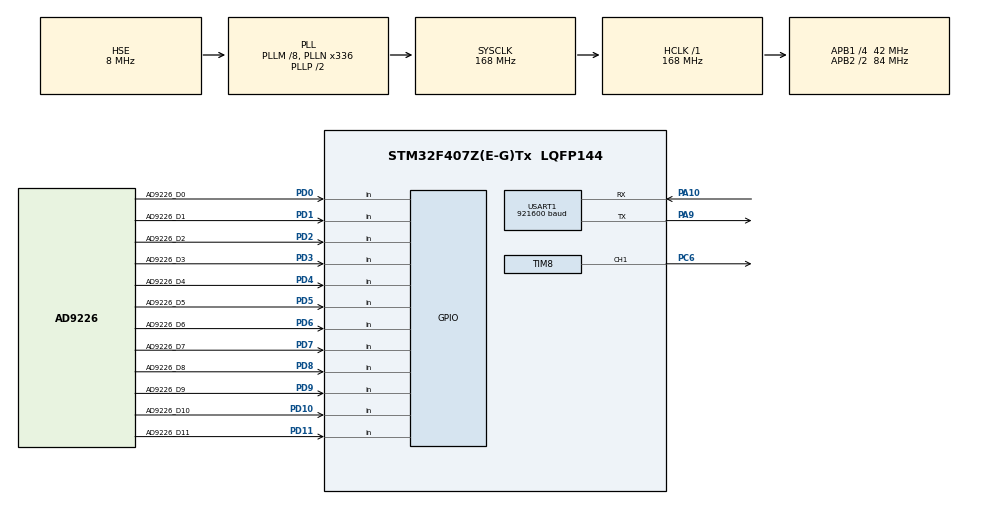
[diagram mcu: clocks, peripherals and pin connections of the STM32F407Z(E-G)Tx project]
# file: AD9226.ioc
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Dma.Request0=TIM8_UP
Dma.Request1=USART1_TX
Dma.TIM8_UP.0.Direction=DMA_PERIPH_TO_MEMORY
Dma.TIM8_UP.0.FIFOMode=DMA_FIFOMODE_DISABLE
Dma.TIM8_UP.0.Instance=DMA2_Stream1
Dma.TIM8_UP.0.MemDataAlignment=DMA_MDATAALIGN_HALFWORD
Dma.TIM8_UP.0.MemInc=DMA_MINC_ENABLE
Dma.TIM8_UP.0.Mode=DMA_NORMAL
Dma.TIM8_UP.0.PeriphDataAlignment=DMA_PDATAALIGN_HALFWORD
Dma.TIM8_UP.0.PeriphInc=DMA_PINC_DISABLE
Dma.TIM8_UP.0.Priority=DMA_PRIORITY_HIGH
Dma.USART1_TX.1.Direction=DMA_MEMORY_TO_PERIPH
Dma.USART1_TX.1.FIFOMode=DMA_FIFOMODE_DISABLE
Dma.USART1_TX.1.Instance=DMA2_Stream7
Dma.USART1_TX.1.MemDataAlignment=DMA_MDATAALIGN_BYTE
Dma.USART1_TX.1.MemInc=DMA_MINC_ENABLE
Dma.USART1_TX.1.Mode=DMA_NORMAL
Dma.USART1_TX.1.PeriphDataAlignment=DMA_PDATAALIGN_BYTE
Dma.USART1_TX.1.PeriphInc=DMA_PINC_DISABLE
Dma.USART1_TX.1.Priority=DMA_PRIORITY_LOW
Mcu.Family=STM32F4
Mcu.Name=STM32F407Z(E-G)Tx
Mcu.Package=LQFP144
NVIC.DMA2_Stream1_IRQn=true\:0\:0\:false\:false\:true\:false\:true\:true
NVIC.DMA2_Stream7_IRQn=true\:0\:0\:false\:false\:true\:false\:true\:true
NVIC.PriorityGroup=NVIC_PRIORITYGROUP_4
PA10.Mode=Asynchronous
PA10.Signal=USART1_RX
PA9.Mode=Asynchronous
PA9.Signal=USART1_TX
PC6.Signal=S_TIM8_CH1
PD0.GPIO_Label=AD9226_D0
PD0.Signal=GPIO_Input
PD1.GPIO_Label=AD9226_D1
PD1.Signal=GPIO_Input
PD10.GPIO_Label=AD9226_D10
PD10.Signal=GPIO_Input
PD11.GPIO_Label=AD9226_D11
PD11.Signal=GPIO_Input
PD2.GPIO_Label=AD9226_D2
PD2.Signal=GPIO_Input
PD3.GPIO_Label=AD9226_D3
PD3.Signal=GPIO_Input
PD4.GPIO_Label=AD9226_D4
PD4.Signal=GPIO_Input
PD5.GPIO_Label=AD9226_D5
PD5.Signal=GPIO_Input
PD6.GPIO_Label=AD9226_D6
PD6.Signal=GPIO_Input
PD7.GPIO_Label=AD9226_D7
PD7.Signal=GPIO_Input
PD8.GPIO_Label=AD9226_D8
PD8.Signal=GPIO_Input
PD9.GPIO_Label=AD9226_D9
PD9.Signal=GPIO_Input
PH0-OSC_IN.Mode=HSE-External-Oscillator
PH0-OSC_IN.Signal=RCC_OSC_IN
PH1-OSC_OUT.Mode=HSE-External-Oscillator
PH1-OSC_OUT.Signal=RCC_OSC_OUT
ProjectManager.HeapSize=0x200
ProjectManager.StackSize=0x400
ProjectManager.TargetToolchain=MDK-ARM V5.32
RCC.48MHZClocksFreq_Value=84000000
RCC.AHBFreq_Value=168000000
RCC.APB1CLKDivider=RCC_HCLK_DIV4
RCC.APB1Freq_Value=42000000
RCC.APB1TimFreq_Value=84000000
RCC.APB2CLKDivider=RCC_HCLK_DIV2
RCC.APB2Freq_Value=84000000
RCC.APB2TimFreq_Value=168000000
RCC.CortexFreq_Value=168000000
RCC.HCLKFreq_Value=168000000
RCC.HSE_VALUE=8000000
RCC.HSI_VALUE=16000000
RCC.LSE_VALUE=32768
RCC.PLLM=8
RCC.PLLN=336
RCC.PLLSourceVirtual=RCC_PLLSOURCE_HSE
RCC.SYSCLKFreq_VALUE=168000000
RCC.SYSCLKSource=RCC_SYSCLKSOURCE_PLLCLK
RCC.VCOOutputFreq_Value=336000000
SH.S_TIM8_CH1.0=TIM8_CH1,PWM Generation1 CH1
TIM8.AutoReloadPreload=TIM_AUTORELOAD_PRELOAD_ENABLE
TIM8.Channel-PWM\ Generation1\ CH1=TIM_CHANNEL_1
TIM8.OCFastMode_PWM-PWM\ Generation1\ CH1=TIM_OCFAST_ENABLE
TIM8.OCMode_PWM-PWM\ Generation1\ CH1=TIM_OCMODE_PWM2
TIM8.Period=41
TIM8.Pulse-PWM\ Generation1\ CH1=21
TIM8.TIM_MasterOutputTrigger=TIM_TRGO_UPDATE
USART1.BaudRate=921600
USART1.VirtualMode=VM_ASYNC
board=custom

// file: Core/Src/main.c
/* USER CODE BEGIN Header */
/**
  * @file    main.c
  * @brief   STM32F407ZGT6 + AD9226 并行ADC采集
  *          淘晶驰串口屏波形显示 (TJC协议, 115200bps)
  */
/* USER CODE END Header */
#include "main.h"
#include "dma.h"
#include "tim.h"
#include "usart.h"
#include "gpio.h"

/* USER CODE BEGIN Includes */
#include <string.h>
#include "waveform_display.h"
#include "hmi.h"
#include "fft_analysis.h"
#include "digital_filter.h"
#include "problem3.h"
/* USER CODE END Includes */

/* USER CODE BEGIN PTD */
typedef enum
{
    T3_VIEW_IFFT = 0,
    T3_VIEW_SPEC,
    T3_VIEW_1T,
    T3_VIEW_3T
} Problem3View_t;

typedef enum
{
    P12_VIEW_SPECTRUM = 0,
    P12_VIEW_IFFT,
    P12_VIEW_1T,
    P12_VIEW_3T
} Problem12View_t;
/* USER CODE END PTD */

/* USER CODE BEGIN PD */

/* Numeric page IDs exported by the TJC project id.h. */
#define HMI_PAGE_P12_SPECTRUM_ID  1U   /* P1/P2 频谱页 (请根据TJC工程确认) */
#define HMI_PAGE_P12_IFFT_ID      2U   /* P1/P2 IFFT波形页 */
#define HMI_PAGE_P12_1T_ID        3U   /* P1/P2 单周期合成页 */
#define HMI_PAGE_P12_3T_ID        4U   /* P1/P2 三周期合成页 */

#define HMI_PAGE_P3_PAUSE_ID    6U  /* page7 */
#define HMI_PAGE_P3_IFFT_ID     7U  /* page8 */
#define HMI_PAGE_P3_SPEC_ID     8U  /* page9 */
#define HMI_PAGE_P3_1T_ID       9U  /* page4 */
#define HMI_PAGE_P3_3T_ID      10U  /* page5 */

/* USE0R CODE END PD */

/* USER CODE BEGIN PV */

uint16_t adc_buffer[ADC_SAMPLE_LEN];                  // DMA采集缓冲区
static uint16_t filtered_buffer[DIGITAL_FILTER_OUTPUT_SIZE]; // 题目3 FIR输出
volatile uint8_t dma_complete_flag = 0;
extern TIM_HandleTypeDef htim8;
extern DMA_HandleTypeDef hdma_tim8_up;

/* 串口屏按钮相关 -----------------------------------------*/
volatile uint8_t capture_on = 1;     // 采集/显示开关 (1=运行, 0=暂停)
uint8_t  rx_byte;                    // UART中断接收的单个字节
uint8_t  rx_buf[32];                 // 接收缓冲区
uint8_t  rx_idx = 0;                 // 缓冲区索引

/* X/Y 缩放参数 — 屏幕控件自带缩放功能 */
int g_hzoom = 1;   // 保留串口屏原有X缩放初值
int g_scale = 1;   // Y轴缩放，无上下限
volatile uint8_t zoom_dirty = 0;  // 缩放值已变更，主循环需发送
volatile uint8_t  page0_ready = 1; // 1=page0空闲可切模式
volatile uint32_t page0_tick  = 0; // PAGE0接收时刻
volatile Problem3View_t problem3_view = T3_VIEW_IFFT;
volatile Problem12View_t problem12_view = P12_VIEW_IFFT;
volatile uint8_t hmi_page_id = 0xFFU;
uint32_t hmi_page_query_tick = 0U;
volatile uint8_t  clear_all_pending = 0; // ISR→主循环: 1=需执行ClearAll
static uint8_t problem3_discard_frames = 0U; // 继电器切换后丢弃的采样帧
static volatile uint8_t p3_metrics_pending = 0U; // 页面切换后重发最近测量值
/* USER CODE END PV */

void SystemClock_Config(void);
/* USER CODE BEGIN PFP */
void AD9226_GPIO_Init(void);
void AD9226_StartSampling(void);
void AD9226_StopSampling(void);
void HMI_RxHandler(uint8_t b);
static void P3_UpdateMeasurements(void);
/* USER CODE END PFP */

/* USER CODE BEGIN 0 */

/**
 * @brief 配置GPIOD PD0~PD11为输入，读取AD9226的12位并行数据
 */
void AD9226_GPIO_Init(void)
{
    __HAL_RCC_GPIOD_CLK_ENABLE();

    GPIO_InitTypeDef GPIO_InitStruct = {0};
    GPIO_InitStruct.Pin = GPIO_PIN_0 | GPIO_PIN_1 | GPIO_PIN_2 | GPIO_PIN_3 |
                          GPIO_PIN_4 | GPIO_PIN_5 | GPIO_PIN_6 | GPIO_PIN_7 |
                          GPIO_PIN_8 | GPIO_PIN_9 | GPIO_PIN_10 | GPIO_PIN_11;
    GPIO_InitStruct.Mode = GPIO_MODE_INPUT;
    GPIO_InitStruct.Pull = GPIO_NOPULL;
    GPIO_InitStruct.Speed = GPIO_SPEED_FREQ_VERY_HIGH;
    HAL_GPIO_Init(GPIOD, &GPIO_InitStruct);
}

/**
 * @brief 启动一次DMA采样 (TIM8触发, 采集1024点)
 */
void AD9226_StartSampling(void)
{
    dma_complete_flag = 0;

    // 停止TIM8
    TIM8->CR1 &= ~TIM_CR1_CEN;

    // 禁止DMA, 等待真正停止
    DMA2_Stream1->CR &= ~DMA_SxCR_EN;
    while (DMA2_Stream1->CR & DMA_SxCR_EN);

    // 清除DMA中断标志
    DMA2->LIFCR = 0x3D << 6;

    // 设置源/目标地址和传输长度
    DMA2_Stream1->PAR  = (uint32_t)&GPIOD->IDR;
    DMA2_Stream1->M0AR = (uint32_t)adc_buffer;
    DMA2_Stream1->NDTR = ADC_SAMPLE_LEN;

    // 使能DMA传输完成中断
    DMA2_Stream1->CR |= DMA_SxCR_TCIE;

    // 使能DMA
    DMA2_Stream1->CR |= DMA_SxCR_EN;

    // 使能TIM8 UPDATE触发DMA
    TIM8->DIER |= TIM_DIER_UDE;

    // 清除SR，启动TIM8
    TIM8->SR = 0;
    TIM8->CR1 |= TIM_CR1_CEN;
}

/**
 * @brief 停止采样
 */
void AD9226_StopSampling(void)
{
    TIM8->CR1 &= ~TIM_CR1_CEN;         // 停止TIM8
    DMA2_Stream1->CR &= ~DMA_SxCR_EN;  // 禁止DMA
}

/**
 * @brief 将最近一次题目三测量结果发送到当前页面的同名控件
 * @note  Page4/5/8/9 的控件均可保持 t3_xxx 名称；页面切换后重发即可。
 */
static void P3_UpdateMeasurements(void)
{
    if (g_fft_result.valid == 0U) { return; }

    WaveformDisplay_SetFrequencyHz("t3_f0", g_fft_result.fundamental_hz);
    WaveformDisplay_SetFrequencyHz("t3_fa1", g_fft_result.fundamental_hz);
    WaveformDisplay_SetAmplitudeMV("t3_h0", g_fft_result.peak_magnitude);
    WaveformDisplay_SetFrequencyHz("t3_f1", g_fft_result.harmonic1_hz);
    WaveformDisplay_SetAmplitudeMV("t3_h1", g_fft_result.harmonic1_magnitude);
    WaveformDisplay_SetFrequencyHz("t3_f2", g_fft_result.harmonic2_hz);
    WaveformDisplay_SetAmplitudeMV("t3_h2", g_fft_result.harmonic2_magnitude);
    WaveformDisplay_SetRMSMV("t3_urms", g_fft_result.rms_mv);
    WaveformDisplay_SetUppMV("t3_upp", g_fft_result.upp_mv);
}

/**
 * @brief 串口屏按钮指令处理
 *
 * 按钮事件: START / PAUSE / CLEAR / XP / XM / YP / YM
 * 也兼容淘晶驰标准触摸事件格式 (0x65前缀, 7字节)
 */
void HMI_RxHandler(uint8_t b)
{
    /* PAUSE/CLEAR快速匹配：即使前面夹有屏幕错误返回帧也能立即响应。 */
    static const uint8_t pause_cmd[] = {'P', 'A', 'U', 'S', 'E'};
    static const uint8_t clear_cmd[] = {'C', 'L', 'E', 'A', 'R'};
    static uint8_t pause_pos = 0U;
    static uint8_t clear_pos = 0U;

    /* Parse the 0x66 page response generated by the HMI sendme command. */
    if (b == 0x66U)
    {
        rx_buf[0] = b;
        rx_idx = 1U;
        return;
    }
    if ((rx_idx > 0U) && (rx_buf[0] == 0x66U))
    {
        rx_buf[rx_idx++] = b;
        if (rx_idx >= 5U)
        {
            uint8_t new_page = rx_buf[1];
            uint8_t old_page = hmi_page_id;

            rx_idx = 0U;
            if ((rx_buf[2] != 0xFFU) ||
                (rx_buf[3] != 0xFFU) ||
                (rx_buf[4] != 0xFFU))
            {
                return;
            }

            hmi_page_id = new_page;
            if (problem3_mode)
            {
                switch (new_page)
                {
                    case HMI_PAGE_P3_PAUSE_ID:
                        capture_on = 0U;
                        break;

                    case HMI_PAGE_P3_IFFT_ID:
                        problem3_view = T3_VIEW_IFFT;
                        if (old_page != new_page)
                        {
                            capture_on = 1U;
                            p3_metrics_pending = 1U;
                        }
                        break;

                    case HMI_PAGE_P3_SPEC_ID:
                        problem3_view = T3_VIEW_SPEC;
                        if (old_page != new_page)
                        {
                            capture_on = 1U;
                            p3_metrics_pending = 1U;
                        }
                        break;

                    case HMI_PAGE_P3_1T_ID:
                        problem3_view = T3_VIEW_1T;
                        if (old_page != new_page)
                        {
                            capture_on = 1U;
                            p3_metrics_pending = 1U;
                        }
                        break;

                    case HMI_PAGE_P3_3T_ID:
                        problem3_view = T3_VIEW_3T;
                        if (old_page != new_page)
                        {
                            capture_on = 1U;
                            p3_metrics_pending = 1U;
                        }
                        break;

                    default:
                        break;
                }
            }
            else
            {
                /* P1/P2 page routing: only draw the active view */
                switch (new_page)
                {
                    case HMI_PAGE_P12_SPECTRUM_ID:
                        problem12_view = P12_VIEW_SPECTRUM;
                        if (old_page != new_page) { capture_on = 1U; }
                        break;

                    case HMI_PAGE_P12_IFFT_ID:
                        problem12_view = P12_VIEW_IFFT;
                        if (old_page != new_page) { capture_on = 1U; }
                        break;

                    case HMI_PAGE_P12_1T_ID:
                        problem12_view = P12_VIEW_1T;
                        if (old_page != new_page) { capture_on = 1U; }
                        break;

                    case HMI_PAGE_P12_3T_ID:
                        problem12_view = P12_VIEW_3T;
                        if (old_page != new_page) { capture_on = 1U; }
                        break;

                    default:
                        break;
                }
            }
        }
        return;
    }

    if (b == pause_cmd[pause_pos])
    {
        if (++pause_pos >= sizeof(pause_cmd))
        {
            capture_on = 0U;
            pause_pos = clear_pos = rx_idx = 0U;
            return;
        }
    }
    else { pause_pos = (b == pause_cmd[0]) ? 1U : 0U; }

    if (b == clear_cmd[clear_pos])
    {
        if (++clear_pos >= sizeof(clear_cmd))
        {
            capture_on = 0U;
            clear_all_pending = 1U;
            pause_pos = clear_pos = rx_idx = 0U;
            return;
        }
    }
    else { clear_pos = (b == clear_cmd[0]) ? 1U : 0U; }
    /* 淘晶驰触摸帧 0x65 — 收齐7字节，处理按钮事件 */
    if (rx_idx == 0 && b == 0x65) { rx_buf[0] = 0x65; rx_idx = 1; return; }
    if (rx_idx > 0 && rx_buf[0] == 0x65)
    {
        rx_buf[rx_idx++] = b;
        if (rx_idx >= 7)
        {
            rx_idx = 0;
            uint8_t cid = rx_buf[2];  // 控件ID
            if      (cid == 1)  { capture_on = 1; }
            else if (cid == 2)  { capture_on = 0; }
            else if (cid == 3)  { capture_on = 0; clear_all_pending = 1; }
            else if (cid == 13) { g_hzoom -= 2; zoom_dirty = 1; capture_on = 0; }
            else if (cid == 14) { g_hzoom += 2; zoom_dirty = 1; capture_on = 0; }
            else if (cid == 15) { g_scale += 5; zoom_dirty = 1; capture_on = 0; }
            else if (cid == 16) { g_scale -= 5; zoom_dirty = 1; capture_on = 0; }
            else if (cid == 6)
            {
                /* b2 按钮: 请求切换题目三模式 (在主循环中安全执行) */
                capture_on = 0;
                problem3_pending = problem3_mode ? 2U : 1U;
            }

            /* 限幅: 防止步进过大超出有效范围 */
            if (g_hzoom < -20)  g_hzoom = -20;
            if (g_hzoom > 30)   g_hzoom = 30;
            if (g_scale < -30)  g_scale = -30;
            if (g_scale > 30)   g_scale = 30;
        }
        return;
    }

    /* printh ASCII字符串 (以 \r 或 \n 结尾) */
    if (b == '\r' || b == '\n')
    {
        /* 跳过孤立的换行符 (多条命令之间的 \r\n 残留) */
        if (rx_idx == 0) { return; }

        rx_buf[rx_idx] = '\0';
        char *cmd = (char *)rx_buf;
        rx_idx = 0;

        if      (strcmp(cmd, "START") == 0)
            { capture_on = 1; /* Draw 函数内部自带 Clear，无需重复 */ }
        else if (strcmp(cmd, "PAUSE") == 0)
            { capture_on = 0; }
        else if (strcmp(cmd, "CLEAR") == 0)
            { capture_on = 0; clear_all_pending = 1; }
        else if (strcmp(cmd, "XP") == 0)
            { g_hzoom -= 1; zoom_dirty = 1; capture_on = 0; }
        else if (strcmp(cmd, "XM") == 0)
            { g_hzoom += 1; zoom_dirty = 1; capture_on = 0; }
        else if (strcmp(cmd, "YP") == 0)
            { g_scale += 1; zoom_dirty = 1; capture_on = 0; }
        else if (strcmp(cmd, "YM") == 0)
            { g_scale -= 1; zoom_dirty = 1; capture_on = 0; }
        else if (strcmp(cmd, "PAGE0") == 0)
        {
            capture_on = 0;
            page0_ready = 0;
            page0_tick  = HAL_GetTick();
        }
        else if (strcmp(cmd, "MODE3") == 0)
        {
            capture_on = 0;
            HAL_GPIO_WritePin(GPIOE, GPIO_PIN_6, GPIO_PIN_SET);
            if (!problem3_mode) { problem3_pending = 1U; }
        }
        /* 限幅: 防止步进过大超出有效范围 */
        if (g_hzoom < -20)  g_hzoom = -20;
        if (g_hzoom > 30)   g_hzoom = 30;
        if (g_scale < -30)  g_scale = -30;
        if (g_scale > 30)   g_scale = 30;

        return;
    }

    /* 存储普通字符 */
    if (rx_idx < sizeof(rx_buf) - 1)
        rx_buf[rx_idx++] = b;

    /* hex printh 裸字节序列检测 (不带 \r\n) — 4 字节即触发 */
    if (rx_idx >= 4U)
    {
        uint8_t b0 = rx_buf[rx_idx - 4U];
        uint8_t b1 = rx_buf[rx_idx - 3U];
        uint8_t b2 = rx_buf[rx_idx - 2U];
        uint8_t b3 = rx_buf[rx_idx - 1U];

        /* 题目3: 79 70 3D 3A → PE6 始终 HIGH */
        if (page0_ready &&
            b0 == 0x79 && b1 == 0x70 && b2 == 0x3D && b3 == 0x3A)
        {
            capture_on = 0;
            HAL_GPIO_WritePin(GPIOE, GPIO_PIN_6, GPIO_PIN_SET);
            if (!problem3_mode) { problem3_pending = 1U; }
            rx_idx = 0;
        }
        /* 题目1: 89 80 8D 8A → PE6 LOW (点击即切换直通支路) */
        else if (b0 == 0x89 && b1 == 0x80 && b2 == 0x8D && b3 == 0x8A)
        {
            capture_on = 0;
            HAL_GPIO_WritePin(GPIOE, GPIO_PIN_6, GPIO_PIN_RESET);
            if (problem3_mode)
                problem3_pending = 2U;
            rx_idx = 0;
        }
        /* 题目2: 99 90 9D 9A → PE6 LOW (点击即切换直通支路) */
        else if (b0 == 0x99 && b1 == 0x90 && b2 == 0x9D && b3 == 0x9A)
        {
            capture_on = 0;
            HAL_GPIO_WritePin(GPIOE, GPIO_PIN_6, GPIO_PIN_RESET);
            if (problem3_mode)
                problem3_pending = 2U;
            rx_idx = 0;
        }
        /* page0 加载完成: printh 00 00 00 01 → 就绪, 接受题目3 */
        else if (b0 == 0x00 && b1 == 0x00 && b2 == 0x00 && b3 == 0x01)
        {
            capture_on = 0;
            page0_ready = 1;
            rx_idx = 0;
        }
    }
}

/* USER CODE END 0 */

int main(void)
{

  /* MCU Configuration--------------------------------------------------------*/

  /* Reset of all peripherals, Initializes the Flash interface and the Systick. */
  HAL_Init();

  /* Configure the system clock */
  SystemClock_Config();

  /* Initialize all configured peripherals */
  MX_GPIO_Init();
  MX_DMA_Init();
  MX_TIM8_Init();
  MX_USART1_UART_Init();
  /* USER CODE BEGIN 2 */

    AD9226_GPIO_Init();
    HAL_TIM_PWM_Start(&htim8, TIM_CHANNEL_1);
    if (FFT_Analysis_Init() == 0U)
    {
        Error_Handler();
    }

    /*
     * 初始化切比雪夫滤波器补偿模型
     * 参数: fc=1500000Hz, 纹波=0.5dB, 阶数=7
     *
     * 调试技巧:
     *   - 用信号源输出 100kHz/500kHz/1MHz 正弦波, 对比串口屏读数与信号源设定值
     *   - 如果高频段补偿不够 → 略微减小 fc (如 1450000)
     *   - 如果高频段补偿过度 → 略微增大 fc (如 1550000)
     *   - 纹波值 0.1/0.5/1.0 对应不同设计, 以实际滤波器的 datasheet 为准
     */
    FilterComp_Init(1500000.0f, 0.5f, 7U);

    Problem3_Init();  /* 继电器就绪; 默认直连通路 */

    /* 使能USART1接收中断 (用于接收串口屏按钮指令) */
    HAL_NVIC_SetPriority(USART1_IRQn, 1, 0);
    HAL_NVIC_EnableIRQ(USART1_IRQn);
    HAL_UART_Receive_IT(&huart1, &rx_byte, 1);

    /* 等待串口屏启动完成 */
    HAL_Delay(3000);
    HMI_SendRaw("bkcmd=0");  /* 禁止无效控件命令返回错误帧 */
    HAL_Delay(20U);

    WaveformDisplay_Init(g_hzoom, g_scale);
  /* USER CODE END 2 */

  /* Infinite loop */
  /* USER CODE BEGIN WHILE */
    while (1)
    {
        /* page0 加载等待: 收到 PAGE0 后等 1s 才能切模式 */
        if (!page0_ready && HAL_GetTick() - page0_tick > 1000U)
            { page0_ready = 1; }

        /* ==== 处理 CLEAR 请求 (来自中断的 pending flag) ==== */
        if (clear_all_pending)
        {
            WaveformDisplay_ClearAll();
            clear_all_pending = 0;
        }

        /* ==== 处理题目三模式切换请求 (来自中断的 pending flag) ==== */
        if (problem3_pending)
        {
            if (problem3_pending == 1U)
            {
                problem3_view = T3_VIEW_IFFT;
                hmi_page_id = 0xFFU;
                Problem3_Enter(g_hzoom, g_scale);
                problem3_discard_frames = 1U;
                p3_metrics_pending = 1U;
                capture_on = 1U;
            }
            else
            {
                Problem3_Exit();
                problem3_discard_frames = 0U;
                p3_metrics_pending = 0U;
            }
            problem3_pending = 0U;
        }

        /* Query page in all modes. Page changes select one view to draw. */
        if ((HAL_GetTick() - hmi_page_query_tick) >= 100U)
        {
            hmi_page_query_tick = HAL_GetTick();
            HMI_SendRaw("sendme");
        }

        /* 页面已经加载完成后，把缓存结果写入当前页面的同名控件。 */
        if (problem3_mode && p3_metrics_pending && g_fft_result.valid)
        {
            p3_metrics_pending = 0U;
            P3_UpdateMeasurements();
        }

        /* ---- 等待采集开关 ---- */
        if (!capture_on)
        {
            /* 缩放触发的暂停: 立即应用 zoom 并重画, 不延时 */
            if (zoom_dirty)
            {
                if (problem3_mode)
                {
                    WaveformDisplay_ApplyZoomP3(g_hzoom, g_scale);
                }
                else
                {
                    WaveformDisplay_ApplyZoom(g_hzoom, g_scale);
                }
                zoom_dirty = 0;
                capture_on = 1;
                /* 复用上次采样数据, 仅重画波形 */
            }
            else
            {
                HAL_Delay(50);
                continue;
            }
        }

        /* ---- 启动DMA采样 ---- */
        AD9226_StartSampling();

        /* ---- 等待DMA完成 (1秒超时) ---- */
        uint32_t timeout = HAL_GetTick();
        while (!dma_complete_flag)
        {
            if (!capture_on) { AD9226_StopSampling(); break; }
            if (HAL_GetTick() - timeout > 1000)
            {
                AD9226_StopSampling();
                break;
            }
        }

        /* ---- 分析并绘制波形图 ---- */
        if (dma_complete_flag && capture_on)
        {
            uint8_t analysis_ok = 0U;

            if (problem3_mode && (problem3_discard_frames > 0U))
            {
                problem3_discard_frames--;
                continue;
            }

            if (problem3_mode)
            {
                /* FIR抽取数据留给IFFT波形显示 */
                DigitalFilter_ProcessDecimate(adc_buffer, ADC_SAMPLE_LEN,
                                              filtered_buffer,
                                              DIGITAL_FILTER_OUTPUT_SIZE);
                /* FFT分析用FIR滤波后数据，与IFFT同源，避免噪声干扰 */
                analysis_ok = FFT_Analysis_RunFiltered(filtered_buffer,
                                                       DIGITAL_FILTER_OUTPUT_SIZE,
                                                       550000.0f);
            }
            else
            {
                analysis_ok = FFT_Analysis_Run(adc_buffer, ADC_SAMPLE_LEN,
                                               500000.0f);
            }

            if (analysis_ok != 0U)
            {
                /*
                 * 切比雪夫滤波器幅值补偿 (仅题目3 LPF通路)
                 * 在 FFT_ComputeUpp 之前调用: 先补偿各频率分量的幅值,
                 * 然后用补偿后的幅值计算 Upp / RMS, 结果即为信号源真实值。
                 *
                 * 如果你的硬件改动使滤波器始终在信号路径中,
                 * 把下面 if 去掉, 让两路都补偿即可。
                 */
                if (problem3_mode)
                {
                    FilterComp_ApplyToResult();
                }

                /* 补偿后计算 RMS + Upp (使用补偿后的幅值) */
                FFT_ComputeRMS();
                FFT_ComputeUpp();

                if (problem3_mode)
                {
                    /* 先把t3_fa1/t3_f0/t3_f1/t3_f3等结果写到当前页面。 */
                    p3_metrics_pending = 0U;
                    P3_UpdateMeasurements();

                    /* 数值更新完成后再进行IFFT，当前阶段暂不发送t3_wave。 */
                    (void)FFT_ReconstructIFFTFiltered(
                        filtered_buffer, DIGITAL_FILTER_OUTPUT_SIZE);
                }
                else
                {
                    /* ── 题目1/2: 更新 t1_xxx 文本控件 (不变) ── */
                    WaveformDisplay_SetFrequencyHz("t1_f0",
                                                   g_fft_result.fundamental_hz);
                    WaveformDisplay_SetFrequencyHz("t1_fa1",
                                                   g_fft_result.fundamental_hz);
                    WaveformDisplay_SetAmplitudeMV("t1_h0",
                                                   g_fft_result.peak_magnitude);
                    WaveformDisplay_SetFrequencyHz("t1_f1",
                                                   g_fft_result.harmonic1_hz);
                    WaveformDisplay_SetAmplitudeMV("t1_h1",
                                                   g_fft_result.harmonic1_magnitude);
                    WaveformDisplay_SetFrequencyHz("t1_f2",
                                                   g_fft_result.harmonic2_hz);
                    WaveformDisplay_SetAmplitudeMV("t1_h2",
                                                   g_fft_result.harmonic2_magnitude);
                    WaveformDisplay_SetRMSMV("t1_urms",
                                             g_fft_result.rms_mv);
                    WaveformDisplay_SetUppMV("t1_upp",
                                             g_fft_result.upp_mv);
                }
            }
            else
            {
                if (problem3_mode)
                {
                    WaveformDisplay_SetFrequencyHz("t3_f0", 0.0f);
                    WaveformDisplay_SetFrequencyHz("t3_fa1", 0.0f);
                    WaveformDisplay_SetAmplitudeMV("t3_h0", 0.0f);
                    WaveformDisplay_SetFrequencyHz("t3_f1", 0.0f);
                    WaveformDisplay_SetAmplitudeMV("t3_h1", 0.0f);
                    WaveformDisplay_SetFrequencyHz("t3_f2", 0.0f);
                    WaveformDisplay_SetAmplitudeMV("t3_h2", 0.0f);
                    WaveformDisplay_SetRMSMV("t3_urms", 0.0f);
                    WaveformDisplay_SetUppMV("t3_upp", 0.0f);
                }
                else
                {
                    WaveformDisplay_SetFrequencyHz("t1_f0", 0.0f);
                    WaveformDisplay_SetFrequencyHz("t1_fa1", 0.0f);
                    WaveformDisplay_SetAmplitudeMV("t1_h0", 0.0f);
                    WaveformDisplay_SetFrequencyHz("t1_f1", 0.0f);
                    WaveformDisplay_SetAmplitudeMV("t1_h1", 0.0f);
                    WaveformDisplay_SetFrequencyHz("t1_f2", 0.0f);
                    WaveformDisplay_SetAmplitudeMV("t1_h2", 0.0f);
                    WaveformDisplay_SetRMSMV("t1_urms", 0.0f);
                    WaveformDisplay_SetUppMV("t1_upp", 0.0f);
                }
            }

            /* ---- 缩放参数变更时立即应用到屏幕控件 ---- */
            if (zoom_dirty)
            {
                if (problem3_mode)
                {
                    WaveformDisplay_ApplyZoomP3(g_hzoom, g_scale);
                }
                else
                {
                    WaveformDisplay_ApplyZoom(g_hzoom, g_scale);
                }
                zoom_dirty = 0;
            }

            if (problem3_mode)
            {
                switch (problem3_view)
                {
                    case T3_VIEW_IFFT:
                        WaveformDisplay_DrawIFFTP3(g_hzoom, g_scale, &capture_on);
                        break;

                    case T3_VIEW_SPEC:
                        WaveformDisplay_SpectrumP3(&capture_on);
                        break;

                    case T3_VIEW_1T:
                        WaveformDisplay_DrawSynthesizedP3(&capture_on);
                        break;

                    case T3_VIEW_3T:
                        WaveformDisplay_DrawSynthesized3PP3(&capture_on);
                        break;

                    default:
                        problem3_view = T3_VIEW_IFFT;
                        break;
                }
            }
            else
            {
                switch (problem12_view)
                {
                    case P12_VIEW_SPECTRUM:
                        WaveformDisplay_Spectrum(&capture_on);
                        break;

                    case P12_VIEW_IFFT:
                        WaveformDisplay_Draw(adc_buffer, FFT_ANALYSIS_SIZE,
                                             g_hzoom, g_scale, &capture_on);
                        break;

                    case P12_VIEW_1T:
                        WaveformDisplay_DrawSynthesized(&capture_on);
                        break;

                    case P12_VIEW_3T:
                        WaveformDisplay_DrawSynthesized3P(&capture_on);
                        break;

                    default:
                        problem12_view = P12_VIEW_IFFT;
                        break;
                }
            }
        }
    }
  /* USER CODE END WHILE */

}

void SystemClock_Config(void)
{
  RCC_OscInitTypeDef RCC_OscInitStruct = {0};
  RCC_ClkInitTypeDef RCC_ClkInitStruct = {0};

  /** Configure the main internal regulator output voltage
  */
  __HAL_RCC_PWR_CLK_ENABLE();
  __HAL_PWR_VOLTAGESCALING_CONFIG(PWR_REGULATOR_VOLTAGE_SCALE1);

  /** Initializes the RCC Oscillators according to the specified parameters
  * in the RCC_OscInitTypeDef structure.
  */
  RCC_OscInitStruct.OscillatorType = RCC_OSCILLATORTYPE_HSE;
  RCC_OscInitStruct.HSEState = RCC_HSE_ON;
  RCC_OscInitStruct.PLL.PLLState = RCC_PLL_ON;
  RCC_OscInitStruct.PLL.PLLSource = RCC_PLLSOURCE_HSE;
  RCC_OscInitStruct.PLL.PLLM = 8;
  RCC_OscInitStruct.PLL.PLLN = 336;
  RCC_OscInitStruct.PLL.PLLP = RCC_PLLP_DIV2;
  RCC_OscInitStruct.PLL.PLLQ = 4;
  if (HAL_RCC_OscConfig(&RCC_OscInitStruct) != HAL_OK)
  {
    Error_Handler();
  }

  /** Initializes the CPU, AHB and APB buses clocks
  */
  RCC_ClkInitStruct.ClockType = RCC_CLOCKTYPE_HCLK|RCC_CLOCKTYPE_SYSCLK
                              |RCC_CLOCKTYPE_PCLK1|RCC_CLOCKTYPE_PCLK2;
  RCC_ClkInitStruct.SYSCLKSource = RCC_SYSCLKSOURCE_PLLCLK;
  RCC_ClkInitStruct.AHBCLKDivider = RCC_SYSCLK_DIV1;
  RCC_ClkInitStruct.APB1CLKDivider = RCC_HCLK_DIV4;
  RCC_ClkInitStruct.APB2CLKDivider = RCC_HCLK_DIV2;

  if (HAL_RCC_ClockConfig(&RCC_ClkInitStruct, FLASH_LATENCY_5) != HAL_OK)
  {
    Error_Handler();
  }
}

/* USER CODE BEGIN 4 */

/**
 * @brief USART1 接收中断回调 (HAL库自动调用)
 */
void HAL_UART_RxCpltCallback(UART_HandleTypeDef *huart)
{
    if (huart->Instance == USART1)
    {
        HMI_RxHandler(rx_byte);
        HAL_UART_Receive_IT(&huart1, &rx_byte, 1);  // 重新开启接收
    }
}

/* USER CODE END 4 */

void Error_Handler(void)
{
  __disable_irq();
  while (1)
  {
  }
}
